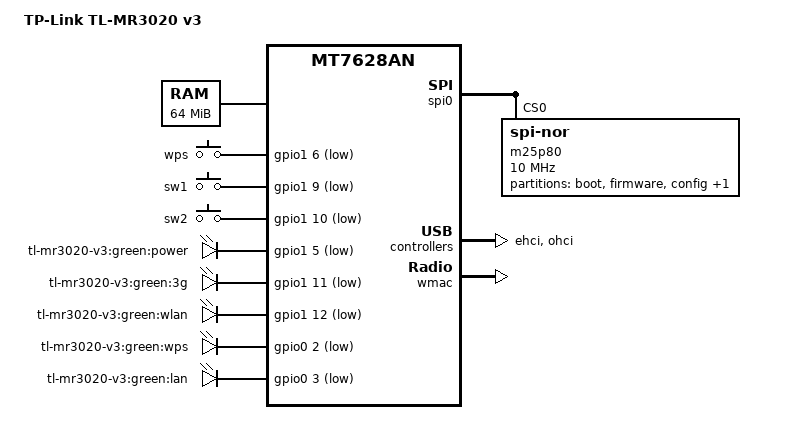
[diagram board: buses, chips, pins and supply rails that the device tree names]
/dts-v1/;

#include "mt7628an.dtsi"

#include <dt-bindings/gpio/gpio.h>
#include <dt-bindings/input/input.h>

/ {
	compatible = "tplink,tl-mr3020-v3", "mediatek,mt7628an-soc";
	model = "TP-Link TL-MR3020 v3";

	aliases {
		led-boot = &led_power;
		led-failsafe = &led_power;
		led-running = &led_power;
		led-upgrade = &led_power;
	};

	chosen {
		bootargs = "console=ttyS0,115200";
	};

	memory@0 {
		device_type = "memory";
		reg = <0x0 0x4000000>;
	};

	gpio-keys-polled {
		compatible = "gpio-keys-polled";
		poll-interval = <20>;

		wps {
			label = "wps";
			gpios = <&gpio1 6 GPIO_ACTIVE_LOW>;
			linux,code = <KEY_WPS_BUTTON>;
		};

		modec1 {
			label = "sw1";
			gpios = <&gpio1 9 GPIO_ACTIVE_LOW>;
			linux,code = <BTN_0>;
		};

		modec2 {
			label = "sw2";
			gpios = <&gpio1 10 GPIO_ACTIVE_LOW>;
			linux,code = <BTN_1>;
		};
	};

	gpio-leds {
		compatible = "gpio-leds";

		led_power: power {
			label = "tl-mr3020-v3:green:power";
			gpios = <&gpio1 5 GPIO_ACTIVE_LOW>;
			default-state = "on";
		};

		wan {
			label = "tl-mr3020-v3:green:3g";
			gpios = <&gpio1 11 GPIO_ACTIVE_LOW>;
			trigger-sources = <&ehci_port1>, <&ohci_port1>;
			linux,default-trigger = "usbport";
		};

		wlan {
			label = "tl-mr3020-v3:green:wlan";
			gpios = <&gpio1 12 GPIO_ACTIVE_LOW>;
		};

		wps {
			label = "tl-mr3020-v3:green:wps";
			gpios = <&gpio0 2 GPIO_ACTIVE_LOW>;
		};

		lan {
			label = "tl-mr3020-v3:green:lan";
			gpios = <&gpio0 3 GPIO_ACTIVE_LOW>;
		};
	};
};

&spi0 {
	status = "okay";

	m25p80@0 {
		compatible = "jedec,spi-nor";
		reg = <0>;
		spi-max-frequency = <10000000>;
		m25p,chunked-io = <32>;

		partitions {
			compatible = "fixed-partitions";
			#address-cells = <1>;
			#size-cells = <1>;

			partition@0 {
				label = "boot";
				reg = <0x0 0x20000>;
				read-only;
			};

			partition@20000 {
				compatible = "tplink,firmware";
				label = "firmware";
				reg = <0x20000 0x7a0000>;
			};

			partition@7c0000 {
				label = "config";
				reg = <0x7c0000 0x10000>;
				read-only;
			};

			factory: partition@7d0000 {
				label = "factory";
				reg = <0x7d0000 0x30000>;
				read-only;
			};
		};
	};
};

&ehci {
	status = "okay";
};

&ohci {
	status = "okay";
};

&pinctrl {
	state_default: pinctrl0 {
		gpio {
			ralink,group = "i2s", "refclk", "wdt", "p2led_an", "p1led_an", "p0led_an", "wled_an";
			ralink,function = "gpio";
		};
	};
};

&wmac {
	status = "okay";
	mtd-mac-address = <&factory 0xf100>;
	mediatek,mtd-eeprom = <&factory 0x20000>;
};

&ethernet {
	mtd-mac-address = <&factory 0xf100>;
};
